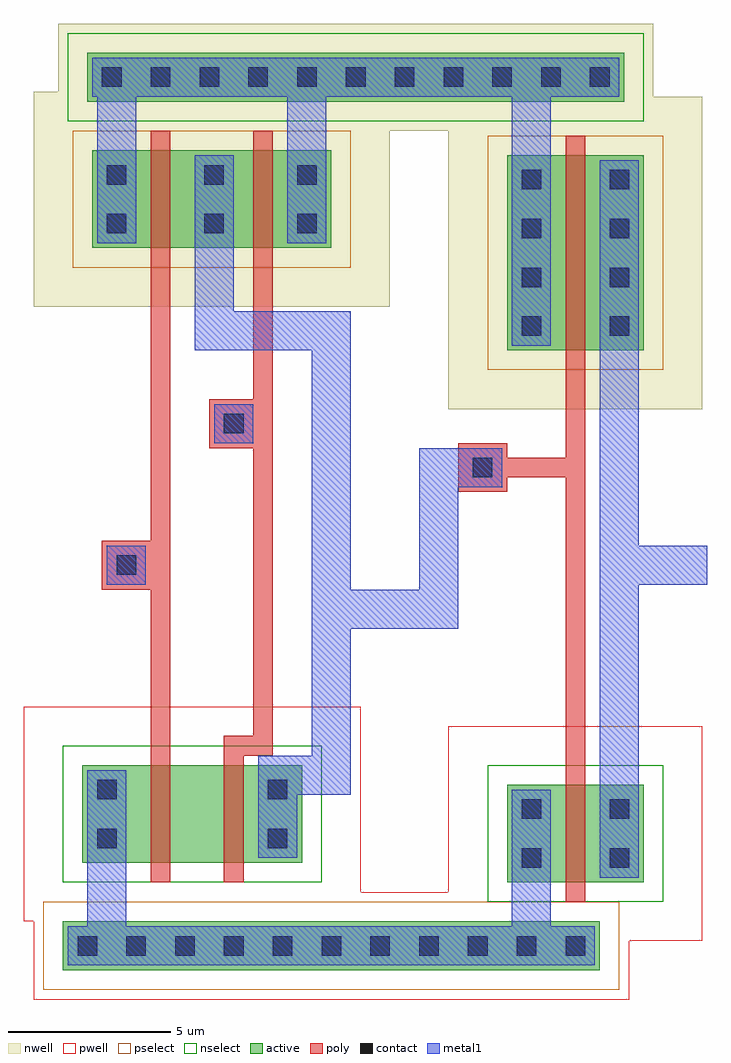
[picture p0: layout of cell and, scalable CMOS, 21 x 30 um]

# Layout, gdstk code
import gdstk
lib = gdstk.Library(unit=1e-6, precision=1e-09)
def R(c, l, rs):  # rectangles x0, y0, x1, y1
    for r in rs: c.add(gdstk.rectangle(r[:2], r[2:], *l))
def A(c, l, x, y, w, h, nx, ny, dx, dy):  # array of equal rectangles
    R(c, l, [(x+i*dx, y+j*dy, x+i*dx+w, y+j*dy+h) for i in range(nx) for j in range(ny)])
contact = (25, 0)
pwell = (41, 0)
nwell = (42, 0)
active = (43, 0)
pselect = (44, 0)
nselect = (45, 0)
poly = (46, 0)
metal1 = (49, 0)

and_ = lib.new_cell('and')
A(and_, contact, -12.6, 1.35, 0.6, 0.6, 11, 1, 1.5, 0)
A(and_, contact, 1.05, 20.4, 0.6, 0.6, 1, 4, 0, 1.5)
A(and_, contact, 3.75, 20.4, 0.6, 0.6, 1, 4, 0, 1.5)
A(and_, contact, -11.85, 28.05, 0.6, 0.6, 11, 1, 1.5, 0)
R(and_, contact, [(1.05,4.05,1.65,4.65), (3.75,4.05,4.35,4.65), (-12,4.65,-11.4,5.25), (-6.75,4.65,-6.15,5.25), (1.05,5.55,1.65,6.15), (3.75,5.55,4.35,6.15), (-12,6.15,-11.4,6.75), (-6.75,6.15,-6.15,6.75), (-11.4,13.05,-10.8,13.65), (-0.45,16.05,0.15,16.65), (-8.1,17.4,-7.5,18), (-11.7,23.55,-11.1,24.15), (-8.7,23.55,-8.1,24.15), (-5.85,23.55,-5.25,24.15), (-11.7,25.05,-11.1,25.65), (-8.7,25.05,-8.1,25.65), (-5.85,25.05,-5.25,25.65)])
R(and_, pwell, [(-13.95,0,4.35,3.3), (-1.2,1.8,3.9,8.4), (-0.3,1.8,5.7,8.4), (1.5,1.8,6.6,8.4), (-14.25,2.4,-9.15,9), (-13.05,2.4,-7.05,9), (-10.8,2.4,-4.8,9), (-9,2.4,-3.9,9), (-0.9,2.85,3.825,7.35), (1.575,2.85,6.3,7.35), (-13.95,3.15,-8.925,7.65), (-8.925,3.45,-4.2,7.95), (-11.175,3.6,-6.675,8.1)])
R(and_, nwell, [(-1.2,18.15,3.9,27.75), (-0.3,18.15,5.7,27.75), (1.5,18.15,6.6,27.75), (-0.9,20.7,3.825,25.2), (1.575,20.7,6.3,25.2), (-13.95,21.3,-8.85,27.9), (-13.05,21.3,-7.05,27.9), (-10.95,21.3,-5.85,27.9), (-9.9,21.3,-3.9,27.9), (-8.1,21.3,-3,27.9), (-13.65,23.25,-8.925,27.75), (-11.175,23.25,-6,27.75), (-10.5,23.25,-5.775,27.75), (-8.025,23.25,-3.15,27.75), (-13.2,26.7,5.1,30)])
R(and_, active, [(-13.05,0.9,3.45,2.4), (0.6,3.6,2.1,6.6), (1.5,3.6,3.9,6.6), (3.3,3.6,4.8,6.6), (-12.45,4.2,-10.95,7.2), (-11.25,4.2,-8.85,7.2), (-9,4.2,-6.6,7.2), (-7.2,4.2,-5.7,7.2), (0.9,4.65,2.025,5.55), (3.375,4.65,4.5,5.55), (-12.15,4.95,-10.725,5.85), (-7.125,5.25,-6,6.15), (-9.375,5.4,-8.475,6.3), (0.6,19.95,2.1,25.95), (1.5,19.95,3.9,25.95), (3.3,19.95,4.8,25.95), (0.9,22.5,2.025,23.4), (3.375,22.5,4.5,23.4), (-12.15,23.1,-10.65,26.1), (-11.25,23.1,-8.85,26.1), (-9.15,23.1,-7.65,26.1), (-8.1,23.1,-5.7,26.1), (-6.3,23.1,-4.8,26.1), (-11.85,25.05,-10.725,25.95), (-9.375,25.05,-7.8,25.95), (-8.7,25.05,-7.575,25.95), (-6.225,25.05,-4.95,25.95), (-12.3,27.6,4.2,29.1)])
R(and_, pselect, [(-13.65,0.3,4.05,3), (0,19.35,2.7,26.55), (0.9,19.35,4.5,26.55), (2.7,19.35,5.4,26.55), (0.3,21.9,2.625,24), (2.775,21.9,5.1,24), (-12.75,22.5,-10.05,26.7), (-11.85,22.5,-8.25,26.7), (-9.75,22.5,-7.05,26.7), (-8.7,22.5,-5.1,26.7), (-6.9,22.5,-4.2,26.7), (-12.45,24.45,-10.125,26.55), (-9.975,24.45,-7.2,26.55), (-9.3,24.45,-6.975,26.55), (-6.825,24.45,-4.35,26.55)])
R(and_, nselect, [(0,3,2.7,7.2), (0.9,3,4.5,7.2), (2.7,3,5.4,7.2), (-13.05,3.6,-10.35,7.8), (-11.85,3.6,-8.25,7.8), (-9.6,3.6,-6,7.8), (-7.8,3.6,-5.1,7.8), (0.3,4.05,2.625,6.15), (2.775,4.05,5.1,6.15), (-12.75,4.35,-10.125,6.45), (-7.725,4.65,-5.4,6.75), (-9.975,4.8,-7.875,6.9), (-12.9,27,4.8,29.7)])
R(and_, poly, [(2.4,3,3,7.2), (-10.35,3.6,-9.75,7.8), (-8.1,3.6,-7.5,7.8), (2.4,6.9,3,7.5), (2.4,6.9,3,16.65), (-10.35,7.5,-9.75,13.5), (-8.1,7.5,-6.6,8.1), (-7.2,7.5,-6.6,18.15), (-11.85,12.6,-10.35,14.1), (-11.55,12.9,-9.75,13.5), (-10.35,12.9,-9.75,22.8), (-0.9,15.6,0.6,17.1), (-0.45,16.05,3,16.65), (2.4,16.05,3,19.65), (-8.55,16.95,-7.05,18.45), (-8.1,17.55,-6.6,18.15), (-7.2,17.55,-6.6,22.8), (2.4,19.35,3,26.55), (-10.35,22.5,-9.75,26.7), (-7.2,22.5,-6.6,26.7)])
R(and_, metal1, [(-12.9,1.05,3.3,2.25), (-12.3,1.05,-11.1,6.3), (-5.85,1.05,1.95,2.25), (0.75,1.05,1.95,5.7), (0.75,3.75,1.95,6.45), (3.45,3.75,4.65,6.45), (-12.3,4.35,-11.1,7.05), (-7.05,4.35,-5.85,7.05), (3.45,4.5,4.65,13.95), (-7.05,5.1,-5.85,7.5), (-7.05,6.3,-4.2,7.5), (-5.4,6.3,-4.2,12.6), (-5.4,11.4,-4.2,21.15), (-5.4,11.4,-2.1,12.6), (-3.3,11.4,-0.9,12.6), (-2.1,11.4,-0.9,16.95), (-11.7,12.75,-10.5,13.95), (3.45,12.75,6.75,13.95), (3.45,12.75,4.65,23.55), (-2.1,15.75,0.45,16.95), (-0.75,15.75,0.45,16.95), (-8.4,17.1,-7.2,18.3), (-9,19.95,-5.85,21.15), (-9,19.95,-7.8,25.95), (-7.05,19.95,-4.2,21.15), (0.75,20.1,1.95,25.8), (3.45,20.1,4.65,25.8), (0.75,22.35,1.95,28.95), (-12,23.25,-10.8,25.95), (-9,23.25,-7.8,25.95), (-6.15,23.25,-4.95,25.95), (-12,24,-10.8,28.95), (-6.15,24,-4.95,28.95), (-12.15,27.75,4.05,28.95), (-9.45,27.75,-4.95,28.95)])

lib.write_gds('and.gds')
